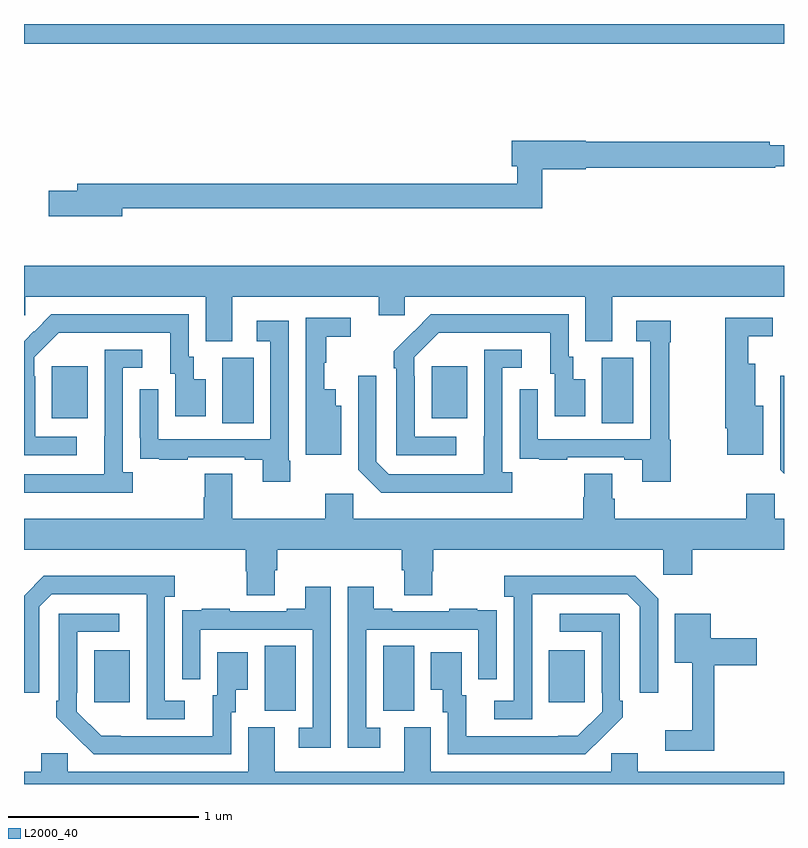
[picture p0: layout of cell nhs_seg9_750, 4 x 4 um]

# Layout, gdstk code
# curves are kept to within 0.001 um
import gdstk
lib = gdstk.Library(unit=1e-6, precision=1e-09)
def R(c, l, rs):  # rectangles x0, y0, x1, y1
    for r in rs: c.add(gdstk.rectangle(r[:2], r[2:], *l))
def P(c, l, *ps):  # polygons
    for p in ps: c.add(gdstk.Polygon(p, *l))
L2000_40 = (2000, 40)

nhs_seg9_750 = lib.new_cell('nhs_seg9_750')
R(nhs_seg9_750, L2000_40, [(150.266,1216.885,150.43,1217.228), (150.89,1216.885,151.054,1217.228), (149.369,1216.929,149.557,1217.203), (151.763,1216.929,151.951,1217.203), (150.044,1218.4,150.208,1218.744), (152.042,1218.4,152.206,1218.744), (149.147,1218.425,149.335,1218.7), (151.145,1218.425,151.333,1218.7), (149,1220.396,153,1220.5)])
P(nhs_seg9_750, L2000_40, [(149.518,1219.53),(151.727,1219.53),(151.727,1219.736),(151.956,1219.736),(151.956,1219.744),(152.953,1219.744),(152.953,1219.752),(153,1219.752),(153,1219.861),(152.924,1219.861),(152.924,1219.88),(151.956,1219.88),(151.956,1219.886),(151.568,1219.886),(151.568,1219.751),(151.595,1219.751),(151.595,1219.658),(149.279,1219.658),(149.279,1219.622),(149.13,1219.622),(149.13,1219.487),(149.518,1219.487)],
  [(150.097,1219.064),(150.866,1219.064),(150.866,1218.966),(151.005,1218.966),(151.005,1219.064),(151.955,1219.064),(151.955,1218.829),(152.095,1218.829),(152.095,1219.064),(153,1219.064),(153,1219.228),(149,1219.228),(149,1218.966),(149.007,1218.966),(149.007,1219.064),(149.957,1219.064),(149.957,1218.829),(150.097,1218.829)],
  [(151.276,1218.327),(151.056,1218.327),(151.056,1218.647),(151.053,1218.647),(151.053,1218.747),(151.182,1218.876),(151.769,1218.876),(151.769,1218.66),(151.793,1218.66),(151.793,1218.435),(151.954,1218.435),(151.954,1218.631),(151.891,1218.631),(151.891,1218.75),(151.866,1218.75),(151.866,1218.972),(151.142,1218.972),(150.945,1218.777),(150.945,1218.689),(150.96,1218.689),(150.96,1218.231),(151.276,1218.231)],
  [(149.278,1218.327),(149.058,1218.327),(149.058,1218.647),(149.055,1218.647),(149.055,1218.747),(149.184,1218.876),(149.771,1218.876),(149.771,1218.66),(149.795,1218.66),(149.795,1218.435),(149.956,1218.435),(149.956,1218.631),(149.893,1218.631),(149.893,1218.75),(149.868,1218.75),(149.868,1218.972),(149.144,1218.972),(149,1218.83),(149,1218.231),(149.278,1218.231)],
  [(150.67,1218.49),(150.64,1218.49),(150.64,1218.577),(150.581,1218.577),(150.581,1218.717),(150.592,1218.717),(150.592,1218.853),(150.721,1218.853),(150.721,1218.954),(150.483,1218.954),(150.483,1218.473),(150.482,1218.473),(150.482,1218.233),(150.67,1218.233)],
  [(152.89,1218.49),(152.848,1218.49),(152.848,1218.712),(152.812,1218.712),(152.812,1218.857),(152.941,1218.857),(152.941,1218.954),(152.69,1218.954),(152.69,1218.372),(152.702,1218.372),(152.702,1218.233),(152.89,1218.233)],
  [(152.405,1218.312),(152.396,1218.312),(152.396,1218.824),(152.404,1218.824),(152.404,1218.937),(152.223,1218.937),(152.223,1218.831),(152.295,1218.831),(152.295,1218.315),(151.704,1218.315),(151.704,1218.577),(151.608,1218.577),(151.608,1218.322),(151.609,1218.322),(151.609,1218.213),(151.711,1218.213),(151.711,1218.207),(151.859,1218.207),(151.859,1218.219),(152.159,1218.219),(152.159,1218.207),(152.255,1218.207),(152.255,1218.09),(152.405,1218.09)],
  [(150.402,1218.202),(150.393,1218.202),(150.393,1218.937),(150.225,1218.937),(150.225,1218.831),(150.297,1218.831),(150.297,1218.315),(149.706,1218.315),(149.706,1218.577),(149.61,1218.577),(149.61,1218.322),(149.611,1218.322),(149.611,1218.213),(149.713,1218.213),(149.713,1218.207),(149.861,1218.207),(149.861,1218.219),(150.161,1218.219),(150.161,1218.207),(150.257,1218.207),(150.257,1218.09),(150.402,1218.09)],
  [(149.572,1218.142),(149.52,1218.142),(149.52,1218.69),(149.623,1218.69),(149.623,1218.786),(149.424,1218.786),(149.424,1218.329),(149.423,1218.329),(149.423,1218.129),(149,1218.129),(149,1218.032),(149.572,1218.032)],
  [(151.57,1218.142),(151.518,1218.142),(151.518,1218.69),(151.621,1218.69),(151.621,1218.786),(151.422,1218.786),(151.421,1218.129),(150.921,1218.129),(150.855,1218.195),(150.855,1218.649),(150.759,1218.649),(150.759,1218.153),(150.88,1218.032),(151.57,1218.032)],
  [(153,1218.649),(152.979,1218.649),(152.979,1218.153),(153,1218.132)],
  [(150.319,1217.626),(150.332,1217.626),(150.332,1217.732),(150.989,1217.732),(150.989,1217.626),(151.001,1217.626),(151.001,1217.494),(151.149,1217.494),(151.149,1217.619),(151.154,1217.619),(151.154,1217.732),(152.364,1217.732),(152.364,1217.601),(152.516,1217.601),(152.516,1217.732),(153,1217.732),(153,1217.896),(152.952,1217.896),(152.952,1218.028),(152.801,1218.028),(152.801,1217.896),(152.108,1217.896),(152.108,1218.002),(152.095,1218.002),(152.095,1218.134),(151.948,1218.134),(151.948,1218.009),(151.943,1218.009),(151.943,1217.896),(150.732,1217.896),(150.732,1218.028),(150.586,1218.028),(150.586,1217.896),(150.097,1217.896),(150.097,1218.134),(149.95,1218.134),(149.95,1218.009),(149.945,1218.009),(149.945,1217.896),(149,1217.896),(149,1217.732),(150.167,1217.732),(150.167,1217.619),(150.172,1217.619),(150.172,1217.494),(150.319,1217.494)],
  [(151.674,1217.299),(151.675,1217.499),(152.175,1217.499),(152.241,1217.433),(152.241,1216.98),(152.337,1216.98),(152.337,1217.475),(152.216,1217.596),(151.527,1217.596),(151.527,1217.486),(151.578,1217.486),(151.578,1216.938),(151.476,1216.938),(151.476,1216.842),(151.674,1216.842)],
  [(149.845,1216.938),(149.742,1216.938),(149.742,1217.486),(149.794,1217.486),(149.794,1217.596),(149.104,1217.596),(149,1217.492),(149,1216.98),(149.079,1216.98),(149.079,1217.433),(149.145,1217.499),(149.645,1217.499),(149.646,1216.842),(149.845,1216.842)],
  [(150.615,1217.539),(150.479,1217.539),(150.479,1217.422),(150.383,1217.422),(150.383,1217.409),(150.083,1217.409),(150.083,1217.422),(149.935,1217.422),(149.935,1217.415),(149.833,1217.415),(149.833,1217.306),(149.832,1217.306),(149.832,1217.052),(149.928,1217.052),(149.928,1217.313),(150.519,1217.313),(150.519,1216.797),(150.447,1216.797),(150.447,1216.692),(150.615,1216.692)],
  [(150.874,1216.797),(150.801,1216.797),(150.801,1217.313),(151.392,1217.313),(151.392,1217.052),(151.488,1217.052),(151.488,1217.306),(151.487,1217.306),(151.487,1217.415),(151.385,1217.415),(151.385,1217.422),(151.237,1217.422),(151.237,1217.409),(150.937,1217.409),(150.937,1217.422),(150.841,1217.422),(150.841,1217.539),(150.705,1217.539),(150.705,1216.692),(150.874,1216.692)],
  [(150.09,1216.878),(150.115,1216.878),(150.115,1216.997),(150.178,1216.997),(150.178,1217.194),(150.017,1217.194),(150.017,1216.968),(149.993,1216.968),(149.993,1216.752),(149.406,1216.753),(149.277,1216.881),(149.277,1216.981),(149.28,1216.981),(149.28,1217.301),(149.5,1217.301),(149.5,1217.397),(149.184,1217.397),(149.184,1216.939),(149.169,1216.939),(149.169,1216.851),(149.366,1216.656),(150.09,1216.656)],
  [(152.045,1216.747),(152.046,1216.746),(152.151,1216.851),(152.151,1216.939),(152.136,1216.939),(152.136,1217.397),(151.821,1217.397),(151.821,1217.301),(152.04,1217.301),(152.04,1216.981),(152.043,1216.981),(152.043,1216.881),(151.915,1216.753),(151.327,1216.752),(151.327,1216.968),(151.303,1216.968),(151.303,1217.194),(151.142,1217.194),(151.142,1216.997),(151.205,1216.997),(151.205,1216.878),(151.23,1216.878),(151.23,1216.656),(151.954,1216.656)],
  [(152.633,1217.126),(152.857,1217.126),(152.857,1217.268),(152.614,1217.268),(152.614,1217.395),(152.426,1217.395),(152.426,1217.138),(152.516,1217.138),(152.516,1216.783),(152.376,1216.783),(152.376,1216.674),(152.633,1216.674)],
  [(150.179,1216.8),(150.179,1216.564),(149.229,1216.564),(149.229,1216.662),(149.09,1216.662),(149.09,1216.564),(149,1216.564),(149,1216.5),(153,1216.5),(153,1216.564),(152.23,1216.564),(152.23,1216.662),(152.091,1216.662),(152.091,1216.564),(151.141,1216.564),(151.141,1216.8),(151.001,1216.8),(151.001,1216.564),(150.319,1216.564),(150.319,1216.8)])

lib.write_gds('nhs_seg9_750.gds')
